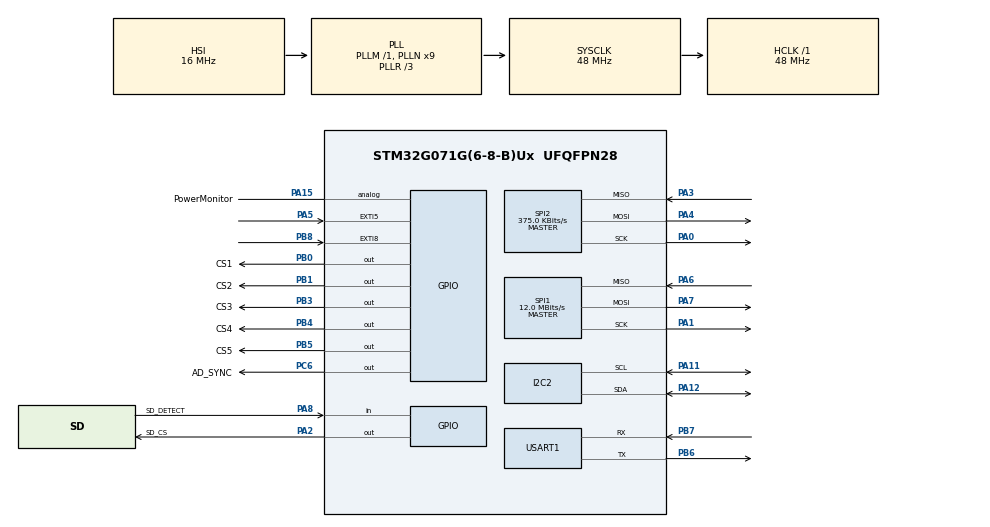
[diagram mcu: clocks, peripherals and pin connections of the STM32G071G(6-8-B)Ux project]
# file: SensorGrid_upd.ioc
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Dma.Request0=USART1_TX
Dma.USART1_TX.0.Direction=DMA_MEMORY_TO_PERIPH
Dma.USART1_TX.0.EventEnable=DISABLE
Dma.USART1_TX.0.Instance=DMA1_Channel1
Dma.USART1_TX.0.MemDataAlignment=DMA_MDATAALIGN_BYTE
Dma.USART1_TX.0.MemInc=DMA_MINC_ENABLE
Dma.USART1_TX.0.Mode=DMA_NORMAL
Dma.USART1_TX.0.PeriphDataAlignment=DMA_PDATAALIGN_BYTE
Dma.USART1_TX.0.PeriphInc=DMA_PINC_DISABLE
Dma.USART1_TX.0.Polarity=HAL_DMAMUX_REQ_GEN_RISING
Dma.USART1_TX.0.Priority=DMA_PRIORITY_LOW
Dma.USART1_TX.0.RequestNumber=1
Dma.USART1_TX.0.SignalID=NONE
Dma.USART1_TX.0.SyncEnable=DISABLE
Dma.USART1_TX.0.SyncPolarity=HAL_DMAMUX_SYNC_NO_EVENT
Dma.USART1_TX.0.SyncRequestNumber=1
Dma.USART1_TX.0.SyncSignalID=NONE
I2C2.Timing=0x20303E5D
Mcu.Family=STM32G0
Mcu.Name=STM32G071G(6-8-B)Ux
Mcu.Package=UFQFPN28
NVIC.DMA1_Channel1_IRQn=true\:0\:0\:false\:false\:true\:false\:true
NVIC.EXTI4_15_IRQn=true\:0\:0\:false\:true\:true\:1\:true\:true
NVIC.SPI1_IRQn=true\:0\:0\:false\:false\:true\:true\:true
NVIC.USART1_IRQn=true\:0\:0\:false\:false\:true\:true\:true
PA0.GPIO_PuPd=GPIO_PULLUP
PA0.GPIO_Speed=GPIO_SPEED_FREQ_HIGH
PA0.Mode=Full_Duplex_Master
PA0.Signal=SPI2_SCK
PA1.GPIO_Speed=GPIO_SPEED_FREQ_VERY_HIGH
PA1.Mode=Full_Duplex_Master
PA1.Signal=SPI1_SCK
PA11\ [PA9].Mode=I2C
PA11\ [PA9].Signal=I2C2_SCL
PA12\ [PA10].Mode=I2C
PA12\ [PA10].Signal=I2C2_SDA
PA13.Mode=Serial_Wire
PA13.Signal=SYS_SWDIO
PA14-BOOT0.Mode=Serial_Wire
PA14-BOOT0.Signal=SYS_SWCLK
PA15.GPIO_Label=PowerMonitor
PA15.Signal=GPIO_Analog
PA2.GPIO_Label=SD_CS
PA2.GPIO_PuPd=GPIO_PULLUP
PA2.GPIO_Speed=GPIO_SPEED_FREQ_HIGH
PA2.PinState=GPIO_PIN_SET
PA2.Signal=GPIO_Output
PA3.GPIO_PuPd=GPIO_PULLUP
PA3.GPIO_Speed=GPIO_SPEED_FREQ_HIGH
PA3.Mode=Full_Duplex_Master
PA3.Signal=SPI2_MISO
PA4.GPIO_PuPd=GPIO_PULLUP
PA4.GPIO_Speed=GPIO_SPEED_FREQ_HIGH
PA4.Mode=Full_Duplex_Master
PA4.Signal=SPI2_MOSI
PA5.GPIO_ModeDefaultEXTI=GPIO_MODE_IT_FALLING
PA5.GPIO_PuPd=GPIO_PULLUP
PA5.Signal=GPXTI5
PA6.GPIO_Speed=GPIO_SPEED_FREQ_VERY_HIGH
PA6.Mode=Full_Duplex_Master
PA6.Signal=SPI1_MISO
PA7.GPIO_Speed=GPIO_SPEED_FREQ_VERY_HIGH
PA7.Mode=Full_Duplex_Master
PA7.Signal=SPI1_MOSI
PA8.GPIO_Label=SD_DETECT
PA8.GPIO_PuPd=GPIO_PULLUP
PA8.Signal=GPIO_Input
PB0.GPIO_Label=CS1
PB0.GPIO_PuPd=GPIO_PULLUP
PB0.GPIO_Speed=GPIO_SPEED_FREQ_VERY_HIGH
PB0.Signal=GPIO_Output
PB1.GPIO_Label=CS2
PB1.GPIO_ModeDefaultOutputPP=GPIO_MODE_OUTPUT_PP
PB1.GPIO_PuPd=GPIO_PULLUP
PB1.GPIO_Speed=GPIO_SPEED_FREQ_VERY_HIGH
PB1.PinState=GPIO_PIN_SET
PB1.Signal=GPIO_Output
PB3.GPIO_Label=CS3
PB3.GPIO_ModeDefaultOutputPP=GPIO_MODE_OUTPUT_PP
PB3.GPIO_PuPd=GPIO_PULLUP
PB3.GPIO_Speed=GPIO_SPEED_FREQ_VERY_HIGH
PB3.PinState=GPIO_PIN_SET
PB3.Signal=GPIO_Output
PB4.GPIO_Label=CS4
PB4.GPIO_ModeDefaultOutputPP=GPIO_MODE_OUTPUT_PP
PB4.GPIO_PuPd=GPIO_PULLUP
PB4.GPIO_Speed=GPIO_SPEED_FREQ_VERY_HIGH
PB4.PinState=GPIO_PIN_SET
PB4.Signal=GPIO_Output
PB5.GPIO_Label=CS5
PB5.GPIO_ModeDefaultOutputPP=GPIO_MODE_OUTPUT_PP
PB5.GPIO_PuPd=GPIO_PULLUP
PB5.GPIO_Speed=GPIO_SPEED_FREQ_VERY_HIGH
PB5.PinState=GPIO_PIN_SET
PB5.Signal=GPIO_Output
PB6.Mode=Asynchronous
PB6.Signal=USART1_TX
PB7.Mode=Asynchronous
PB7.Signal=USART1_RX
PB8.GPIO_ModeDefaultEXTI=GPIO_MODE_IT_RISING
PB8.GPIO_PuPd=GPIO_PULLUP
PB8.Signal=GPXTI8
PC14-OSC32_IN\ (PC14).Mode=HSE-External-Clock-Source
PC14-OSC32_IN\ (PC14).Signal=RCC_OSC_IN
PC15-OSC32_OUT\ (PC15).Mode=OSC enable
PC15-OSC32_OUT\ (PC15).Signal=RCC_OSC_EN
PC6.GPIO_Label=AD_SYNC
PC6.GPIO_ModeDefaultOutputPP=GPIO_MODE_OUTPUT_PP
PC6.GPIO_PuPd=GPIO_PULLUP
PC6.GPIO_Speed=GPIO_SPEED_FREQ_VERY_HIGH
PC6.PinState=GPIO_PIN_SET
PC6.Signal=GPIO_Output
ProjectManager.HeapSize=0x200
ProjectManager.StackSize=0x400
ProjectManager.TargetToolchain=STM32CubeIDE
RCC.ADCFreq_Value=48000000
RCC.AHBFreq_Value=48000000
RCC.CortexFreq_Value=48000000
RCC.EXTERNAL_CLOCK_VALUE=48000
RCC.HCLKFreq_Value=48000000
RCC.HSE_VALUE=20000000
RCC.HSI_VALUE=16000000
RCC.LSE_VALUE=32768
RCC.PLLN=9
RCC.PLLR=RCC_PLLR_DIV3
RCC.SYSCLKFreq_VALUE=48000000
RCC.SYSCLKSource=RCC_SYSCLKSOURCE_PLLCLK
RCC.VCOOutputFreq_Value=144000000
RTC.Format=RTC_FORMAT_BIN
SPI1.BaudRatePrescaler=SPI_BAUDRATEPRESCALER_4
SPI1.CLKPhase=SPI_PHASE_2EDGE
SPI1.CLKPolarity=SPI_POLARITY_HIGH
SPI1.CalculateBaudRate=12.0 MBits/s
SPI1.DataSize=SPI_DATASIZE_8BIT
SPI1.Direction=SPI_DIRECTION_2LINES
SPI1.Mode=SPI_MODE_MASTER
SPI1.VirtualType=VM_MASTER
SPI2.BaudRatePrescaler=SPI_BAUDRATEPRESCALER_128
SPI2.CalculateBaudRate=375.0 KBits/s
SPI2.DataSize=SPI_DATASIZE_8BIT
SPI2.Direction=SPI_DIRECTION_2LINES
SPI2.Mode=SPI_MODE_MASTER
SPI2.VirtualType=VM_MASTER
USART1.VirtualMode-Asynchronous=VM_ASYNC
VP_FATFS_VS_Generic.Mode=User_defined
VP_RTC_VS_RTC_Activate.Mode=RTC_Enabled
VP_RTC_VS_RTC_Calendar.Mode=RTC_Calendar
VP_SYS_VS_DBSignals.Mode=DisableDeadBatterySignals
board=custom

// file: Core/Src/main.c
/* USER CODE BEGIN Header */
/**
  ******************************************************************************
  * @file           : main.c
  * @brief          : Main program body
  ******************************************************************************
  * @attention
  *
  * <h2><center>&copy; Copyright (c) 2021 STMicroelectronics.
  * All rights reserved.</center></h2>
  *
  * This software component is licensed by ST under BSD 3-Clause license,
  * the "License"; You may not use this file except in compliance with the
  * License. You may obtain a copy of the License at:
  *                        opensource.org/licenses/BSD-3-Clause
  *
  *
  *ADC example from https://wiki.analog.com/resources/tools-software/product-support-software/ad7124-stm32
  *
  *
  ******************************************************************************
  */
/* USER CODE END Header */
#include "main.h"
#include "app_fatfs.h"

/* USER CODE BEGIN Includes */
#include <stdio.h>
#include <string.h>
#include "ad7124_console_app.h"
#include <rtcProcess.h>
#include "sdCard.h"
/* USER CODE END Includes */

/* USER CODE BEGIN PD */
static void dmaInit (void);
/* USER CODE END PD */

I2C_HandleTypeDef hi2c2;

RTC_HandleTypeDef hrtc;

SPI_HandleTypeDef hspi1;
SPI_HandleTypeDef hspi2;

UART_HandleTypeDef huart1;
DMA_HandleTypeDef hdma_usart1_tx;

/* USER CODE BEGIN PV */
GPIO_TypeDef* csPort = CS1_GPIO_Port;
uint8_t csPin = CS1_Pin;
static float convertedVoltage[10] = { 0 };
uint8_t sdCardPresent = 0;
struct ad7124_dev * pAd7124_dev1 = NULL;

struct ad7124_dev * pAd7124_dev2 = NULL;
struct ad7124_dev * pAd7124_dev3 = NULL;
struct ad7124_dev * pAd7124_dev4 = NULL;
struct ad7124_dev * pAd7124_dev5 = NULL;

volatile uint8_t cycleStart = 0;
extern volatile uint32_t previousTicks; //Declared at buttons.c
/* USER CODE END PV */

void SystemClock_Config(void);
static void MX_GPIO_Init(void);
static void MX_I2C2_Init(void);
static void MX_RTC_Init(void);
static void MX_SPI1_Init(void);
static void MX_SPI2_Init(void);
static void MX_USART1_UART_Init(void);
static void MX_NVIC_Init(void);
/* USER CODE BEGIN PFP */
static void MX_DMA_Init(void);
/* USER CODE END PFP */

int main(void)
{

  /* MCU Configuration--------------------------------------------------------*/

  /* Reset of all peripherals, Initializes the Flash interface and the Systick. */
  HAL_Init();

  /* Configure the system clock */
  SystemClock_Config();

  /* Initialize all configured peripherals */
  MX_GPIO_Init();
  MX_I2C2_Init();
  MX_RTC_Init();
  MX_SPI1_Init();
  MX_SPI2_Init();
  MX_DMA_Init();
  MX_USART1_UART_Init();
  if (MX_FATFS_Init() != APP_OK) {
    Error_Handler();
  }

  /* Initialize interrupts */
  MX_NVIC_Init();
  /* USER CODE BEGIN 2 */
  sdCardPresent = HAL_GPIO_ReadPin(SD_DETECT_GPIO_Port, SD_DETECT_Pin);

  sdCardInit();
  printTimeUart();
  rtcConsoleInput();

  /* Initialize the AD7124 application before the main loop */
	int32_t setupResult;
	uint32_t resultPointer;
	uint8_t eCnt = 0;

	csPort = CS1_GPIO_Port;
	csPin = CS1_Pin;
	if ((setupResult = ad7124_app_initialize(AD7124_CONFIG_A, &pAd7124_dev1, (uint8_t)CS1_GPIO_Port, (uint8_t)CS1_Pin, &resultPointer )) < 0 ) {
	}
	else
	{
		pAd7124_dev1 = resultPointer;
	}

	csPort = CS2_GPIO_Port;
	csPin = CS2_Pin;
		if ((setupResult = ad7124_app_initialize(AD7124_CONFIG_A, &pAd7124_dev2, (uint8_t)CS2_GPIO_Port, (uint8_t)CS2_Pin, &resultPointer )) < 0 ) {
		}
		else
		{
			pAd7124_dev2 = resultPointer;
		}

	csPort = CS3_GPIO_Port;
	csPin = CS3_Pin;
	if ((setupResult = ad7124_app_initialize(AD7124_CONFIG_A, &pAd7124_dev3, (uint8_t)CS3_GPIO_Port, (uint8_t)CS3_Pin, &resultPointer )) < 0 ) {
	}
	else
	{
		pAd7124_dev3 = resultPointer;
	}

	csPort = CS4_GPIO_Port;
	csPin = CS4_Pin;
	if ((setupResult = ad7124_app_initialize(AD7124_CONFIG_A, &pAd7124_dev4, (uint8_t)CS4_GPIO_Port, (uint8_t)CS4_Pin, &resultPointer )) < 0 ) {
	}
	else
	{
		pAd7124_dev4 = resultPointer;
	}
	csPort = CS5_GPIO_Port;
		csPin = CS5_Pin;
		if ((setupResult = ad7124_app_initialize(AD7124_CONFIG_A, &pAd7124_dev5, (uint8_t)CS5_GPIO_Port, (uint8_t)CS5_Pin, &resultPointer )) < 0 ) {
		}
		else
		{
			pAd7124_dev5 = resultPointer;
		}
		/*
	*/
	printf("Sucessfully booted. Waiting for trigger \r\n");
  /* USER CODE END 2 */

  /* Infinite loop */
  /* USER CODE BEGIN WHILE */
  uint32_t startTicks = 0;
  uint32_t prevTicks = 0;
  static uint8_t transmitBuffer[255] = { 0 };
  uint32_t overallTicks = 0;

  while (1)
  {
	  if (sdCardPresent != 0)
	  {
	  sdCardPresent = HAL_GPIO_ReadPin(SD_DETECT_GPIO_Port, SD_DETECT_Pin);
	  }
	  buttonMonitor();

    /* USER CODE END WHILE */

    /* USER CODE BEGIN 3 */
	if (cycleStart == 1)
	{
		csPort = CS1_GPIO_Port;
		csPin = CS1_Pin;
		do_continuous_conversion(1, pAd7124_dev1, &convertedVoltage, 0);

		csPort = CS2_GPIO_Port;
		csPin = CS2_Pin;
		do_continuous_conversion(1, pAd7124_dev2, &convertedVoltage, 2);
		csPort = CS3_GPIO_Port;
		csPin = CS3_Pin;
		do_continuous_conversion(1, pAd7124_dev3, &convertedVoltage, 4);

		csPort = CS4_GPIO_Port;
		csPin = CS4_Pin;
		do_continuous_conversion(1, pAd7124_dev4, &convertedVoltage, 6);
		csPort = CS5_GPIO_Port;
		csPin = CS5_Pin;
		do_continuous_conversion(1, pAd7124_dev5, &convertedVoltage, 8);

		startTicks = HAL_GetTick();

		overallTicks = startTicks - previousTicks;
		sprintf(transmitBuffer,"%05d;", overallTicks);
		for (int i = 0; i < CHANNEL_COUNT; i++)
		{
		  sprintf((transmitBuffer+ TIMESTAMP_SHIFT + i*TEMPERATURE_SYMBOLS_COUNT),"%05.1f;", convertedVoltage[i]);
		}
		sprintf ((transmitBuffer+ TIMESTAMP_SHIFT + CHANNEL_COUNT*TEMPERATURE_SYMBOLS_COUNT), "\r\n", 0);
		uint8_t transmitLenght = TX_LENGHT;
		HAL_UART_Transmit_DMA(&huart1, transmitBuffer, transmitLenght);
		 if (sdCardPresent != 0)
		  {
			 writeStringToFile(transmitBuffer, transmitLenght);
		  }

	}
  }
  /* USER CODE END 3 */
}

void SystemClock_Config(void)
{
  RCC_OscInitTypeDef RCC_OscInitStruct = {0};
  RCC_ClkInitTypeDef RCC_ClkInitStruct = {0};
  RCC_PeriphCLKInitTypeDef PeriphClkInit = {0};

  /** Configure the main internal regulator output voltage
  */
  HAL_PWREx_ControlVoltageScaling(PWR_REGULATOR_VOLTAGE_SCALE1);
  /** Initializes the RCC Oscillators according to the specified parameters
  * in the RCC_OscInitTypeDef structure.
  */
  RCC_OscInitStruct.OscillatorType = RCC_OSCILLATORTYPE_HSI|RCC_OSCILLATORTYPE_LSI;
  RCC_OscInitStruct.HSIState = RCC_HSI_ON;
  RCC_OscInitStruct.HSIDiv = RCC_HSI_DIV1;
  RCC_OscInitStruct.HSICalibrationValue = RCC_HSICALIBRATION_DEFAULT;
  RCC_OscInitStruct.LSIState = RCC_LSI_ON;
  RCC_OscInitStruct.PLL.PLLState = RCC_PLL_ON;
  RCC_OscInitStruct.PLL.PLLSource = RCC_PLLSOURCE_HSI;
  RCC_OscInitStruct.PLL.PLLM = RCC_PLLM_DIV1;
  RCC_OscInitStruct.PLL.PLLN = 9;
  RCC_OscInitStruct.PLL.PLLP = RCC_PLLP_DIV2;
  RCC_OscInitStruct.PLL.PLLQ = RCC_PLLQ_DIV2;
  RCC_OscInitStruct.PLL.PLLR = RCC_PLLR_DIV3;
  if (HAL_RCC_OscConfig(&RCC_OscInitStruct) != HAL_OK)
  {
    Error_Handler();
  }
  /** Initializes the CPU, AHB and APB buses clocks
  */
  RCC_ClkInitStruct.ClockType = RCC_CLOCKTYPE_HCLK|RCC_CLOCKTYPE_SYSCLK
                              |RCC_CLOCKTYPE_PCLK1;
  RCC_ClkInitStruct.SYSCLKSource = RCC_SYSCLKSOURCE_PLLCLK;
  RCC_ClkInitStruct.AHBCLKDivider = RCC_SYSCLK_DIV1;
  RCC_ClkInitStruct.APB1CLKDivider = RCC_HCLK_DIV1;

  if (HAL_RCC_ClockConfig(&RCC_ClkInitStruct, FLASH_LATENCY_1) != HAL_OK)
  {
    Error_Handler();
  }
  /** Initializes the peripherals clocks
  */
  PeriphClkInit.PeriphClockSelection = RCC_PERIPHCLK_RTC|RCC_PERIPHCLK_USART1;
  PeriphClkInit.Usart1ClockSelection = RCC_USART1CLKSOURCE_PCLK1;
  PeriphClkInit.RTCClockSelection = RCC_RTCCLKSOURCE_LSI;

  if (HAL_RCCEx_PeriphCLKConfig(&PeriphClkInit) != HAL_OK)
  {
    Error_Handler();
  }
}

/**
  * @brief NVIC Configuration.
  * @retval None
  */
static void MX_NVIC_Init(void)
{
  /* EXTI4_15_IRQn interrupt configuration */
  HAL_NVIC_SetPriority(EXTI4_15_IRQn, 0, 0);
  HAL_NVIC_EnableIRQ(EXTI4_15_IRQn);
}

static void MX_I2C2_Init(void)
{

  hi2c2.Instance = I2C2;
  hi2c2.Init.Timing = 0x20303E5D;
  hi2c2.Init.OwnAddress1 = 0;
  hi2c2.Init.AddressingMode = I2C_ADDRESSINGMODE_7BIT;
  hi2c2.Init.DualAddressMode = I2C_DUALADDRESS_DISABLE;
  hi2c2.Init.OwnAddress2 = 0;
  hi2c2.Init.OwnAddress2Masks = I2C_OA2_NOMASK;
  hi2c2.Init.GeneralCallMode = I2C_GENERALCALL_DISABLE;
  hi2c2.Init.NoStretchMode = I2C_NOSTRETCH_DISABLE;
  if (HAL_I2C_Init(&hi2c2) != HAL_OK)
  {
    Error_Handler();
  }
  /** Configure Analogue filter
  */
  if (HAL_I2CEx_ConfigAnalogFilter(&hi2c2, I2C_ANALOGFILTER_ENABLE) != HAL_OK)
  {
    Error_Handler();
  }
  /** Configure Digital filter
  */
  if (HAL_I2CEx_ConfigDigitalFilter(&hi2c2, 0) != HAL_OK)
  {
    Error_Handler();
  }

}

static void MX_RTC_Init(void)
{

  /** Initialize RTC Only
  */
  hrtc.Instance = RTC;
  hrtc.Init.HourFormat = RTC_HOURFORMAT_24;
  hrtc.Init.AsynchPrediv = 127;
  hrtc.Init.SynchPrediv = 255;
  hrtc.Init.OutPut = RTC_OUTPUT_DISABLE;
  hrtc.Init.OutPutRemap = RTC_OUTPUT_REMAP_NONE;
  hrtc.Init.OutPutPolarity = RTC_OUTPUT_POLARITY_HIGH;
  hrtc.Init.OutPutType = RTC_OUTPUT_TYPE_OPENDRAIN;
  hrtc.Init.OutPutPullUp = RTC_OUTPUT_PULLUP_NONE;
  if (HAL_RTC_Init(&hrtc) != HAL_OK)
  {
    Error_Handler();
  }

  /** Initialize RTC and set the Time and Date
  */

}

static void MX_SPI1_Init(void)
{

  /* SPI1 parameter configuration*/
  hspi1.Instance = SPI1;
  hspi1.Init.Mode = SPI_MODE_MASTER;
  hspi1.Init.Direction = SPI_DIRECTION_2LINES;
  hspi1.Init.DataSize = SPI_DATASIZE_8BIT;
  hspi1.Init.CLKPolarity = SPI_POLARITY_HIGH;
  hspi1.Init.CLKPhase = SPI_PHASE_2EDGE;
  hspi1.Init.NSS = SPI_NSS_SOFT;
  hspi1.Init.BaudRatePrescaler = SPI_BAUDRATEPRESCALER_4;
  hspi1.Init.FirstBit = SPI_FIRSTBIT_MSB;
  hspi1.Init.TIMode = SPI_TIMODE_DISABLE;
  hspi1.Init.CRCCalculation = SPI_CRCCALCULATION_DISABLE;
  hspi1.Init.CRCPolynomial = 7;
  hspi1.Init.CRCLength = SPI_CRC_LENGTH_DATASIZE;
  hspi1.Init.NSSPMode = SPI_NSS_PULSE_DISABLE;
  if (HAL_SPI_Init(&hspi1) != HAL_OK)
  {
    Error_Handler();
  }

}

static void MX_SPI2_Init(void)
{

  /* SPI2 parameter configuration*/
  hspi2.Instance = SPI2;
  hspi2.Init.Mode = SPI_MODE_MASTER;
  hspi2.Init.Direction = SPI_DIRECTION_2LINES;
  hspi2.Init.DataSize = SPI_DATASIZE_8BIT;
  hspi2.Init.CLKPolarity = SPI_POLARITY_LOW;
  hspi2.Init.CLKPhase = SPI_PHASE_1EDGE;
  hspi2.Init.NSS = SPI_NSS_SOFT;
  hspi2.Init.BaudRatePrescaler = SPI_BAUDRATEPRESCALER_128;
  hspi2.Init.FirstBit = SPI_FIRSTBIT_MSB;
  hspi2.Init.TIMode = SPI_TIMODE_DISABLE;
  hspi2.Init.CRCCalculation = SPI_CRCCALCULATION_DISABLE;
  hspi2.Init.CRCPolynomial = 7;
  hspi2.Init.CRCLength = SPI_CRC_LENGTH_DATASIZE;
  hspi2.Init.NSSPMode = SPI_NSS_PULSE_ENABLE;
  if (HAL_SPI_Init(&hspi2) != HAL_OK)
  {
    Error_Handler();
  }

}

static void MX_USART1_UART_Init(void)
{

  huart1.Instance = USART1;
  huart1.Init.BaudRate = 230400;
  huart1.Init.WordLength = UART_WORDLENGTH_8B;
  huart1.Init.StopBits = UART_STOPBITS_1;
  huart1.Init.Parity = UART_PARITY_NONE;
  huart1.Init.Mode = UART_MODE_TX_RX;
  huart1.Init.HwFlowCtl = UART_HWCONTROL_NONE;
  huart1.Init.OverSampling = UART_OVERSAMPLING_16;
  huart1.Init.OneBitSampling = UART_ONE_BIT_SAMPLE_DISABLE;
  huart1.Init.ClockPrescaler = UART_PRESCALER_DIV1;
  huart1.AdvancedInit.AdvFeatureInit = UART_ADVFEATURE_NO_INIT;
  if (HAL_UART_Init(&huart1) != HAL_OK)
  {
    Error_Handler();
  }
  if (HAL_UARTEx_SetTxFifoThreshold(&huart1, UART_TXFIFO_THRESHOLD_1_8) != HAL_OK)
  {
    Error_Handler();
  }
  if (HAL_UARTEx_SetRxFifoThreshold(&huart1, UART_RXFIFO_THRESHOLD_1_8) != HAL_OK)
  {
    Error_Handler();
  }
  if (HAL_UARTEx_DisableFifoMode(&huart1) != HAL_OK)
  {
    Error_Handler();
  }

}

static void MX_DMA_Init(void)
{

  /* DMA controller clock enable */
  __HAL_RCC_DMA1_CLK_ENABLE();

  /* DMA interrupt init */
  /* DMA1_Channel1_IRQn interrupt configuration */
  HAL_NVIC_SetPriority(DMA1_Channel1_IRQn, 0, 0);
  HAL_NVIC_EnableIRQ(DMA1_Channel1_IRQn);

}

static void MX_GPIO_Init(void)
{
  GPIO_InitTypeDef GPIO_InitStruct = {0};

  /* GPIO Ports Clock Enable */
  __HAL_RCC_GPIOC_CLK_ENABLE();
  __HAL_RCC_GPIOA_CLK_ENABLE();
  __HAL_RCC_GPIOB_CLK_ENABLE();

  /*Configure GPIO pin Output Level */
  HAL_GPIO_WritePin(SD_CS_GPIO_Port, SD_CS_Pin, GPIO_PIN_SET);

  /*Configure GPIO pin Output Level */
  HAL_GPIO_WritePin(CS1_GPIO_Port, CS1_Pin, GPIO_PIN_RESET);

  /*Configure GPIO pin Output Level */
  HAL_GPIO_WritePin(GPIOB, CS2_Pin|CS3_Pin|CS4_Pin|CS5_Pin, GPIO_PIN_SET);

  /*Configure GPIO pin Output Level */
  HAL_GPIO_WritePin(AD_SYNC_GPIO_Port, AD_SYNC_Pin, GPIO_PIN_SET);

  /*Configure GPIO pin : PC15 */
  GPIO_InitStruct.Pin = GPIO_PIN_15;
  GPIO_InitStruct.Mode = GPIO_MODE_AF_PP;
  GPIO_InitStruct.Pull = GPIO_NOPULL;
  GPIO_InitStruct.Speed = GPIO_SPEED_FREQ_LOW;
  GPIO_InitStruct.Alternate = GPIO_AF1_OSC;
  HAL_GPIO_Init(GPIOC, &GPIO_InitStruct);

  /*Configure GPIO pin : SD_CS_Pin */
  GPIO_InitStruct.Pin = SD_CS_Pin;
  GPIO_InitStruct.Mode = GPIO_MODE_OUTPUT_PP;
  GPIO_InitStruct.Pull = GPIO_PULLUP;
  GPIO_InitStruct.Speed = GPIO_SPEED_FREQ_HIGH;
  HAL_GPIO_Init(SD_CS_GPIO_Port, &GPIO_InitStruct);

  /*Configure GPIO pin : PA5 */
  GPIO_InitStruct.Pin = GPIO_PIN_5;
  GPIO_InitStruct.Mode = GPIO_MODE_IT_FALLING;
  GPIO_InitStruct.Pull = GPIO_PULLUP;
  HAL_GPIO_Init(GPIOA, &GPIO_InitStruct);

  /*Configure GPIO pins : CS1_Pin CS2_Pin CS3_Pin CS4_Pin
                           CS5_Pin */
  GPIO_InitStruct.Pin = CS1_Pin|CS2_Pin|CS3_Pin|CS4_Pin
                          |CS5_Pin;
  GPIO_InitStruct.Mode = GPIO_MODE_OUTPUT_PP;
  GPIO_InitStruct.Pull = GPIO_PULLUP;
  GPIO_InitStruct.Speed = GPIO_SPEED_FREQ_VERY_HIGH;
  HAL_GPIO_Init(GPIOB, &GPIO_InitStruct);

  /*Configure GPIO pin : SD_DETECT_Pin */
  GPIO_InitStruct.Pin = SD_DETECT_Pin;
  GPIO_InitStruct.Mode = GPIO_MODE_INPUT;
  GPIO_InitStruct.Pull = GPIO_PULLUP;
  HAL_GPIO_Init(SD_DETECT_GPIO_Port, &GPIO_InitStruct);

  /*Configure GPIO pin : AD_SYNC_Pin */
  GPIO_InitStruct.Pin = AD_SYNC_Pin;
  GPIO_InitStruct.Mode = GPIO_MODE_OUTPUT_PP;
  GPIO_InitStruct.Pull = GPIO_PULLUP;
  GPIO_InitStruct.Speed = GPIO_SPEED_FREQ_VERY_HIGH;
  HAL_GPIO_Init(AD_SYNC_GPIO_Port, &GPIO_InitStruct);

  /*Configure GPIO pin : PowerMonitor_Pin */
  GPIO_InitStruct.Pin = PowerMonitor_Pin;
  GPIO_InitStruct.Mode = GPIO_MODE_ANALOG;
  GPIO_InitStruct.Pull = GPIO_NOPULL;
  HAL_GPIO_Init(PowerMonitor_GPIO_Port, &GPIO_InitStruct);

  /*Configure GPIO pin : PB8 */
  GPIO_InitStruct.Pin = GPIO_PIN_8;
  GPIO_InitStruct.Mode = GPIO_MODE_IT_RISING;
  GPIO_InitStruct.Pull = GPIO_PULLUP;
  HAL_GPIO_Init(GPIOB, &GPIO_InitStruct);

}

void Error_Handler(void)
{
  __disable_irq();
  while (1)
  {
  }
}

/************************ (C) COPYRIGHT STMicroelectronics *****END OF FILE****/
